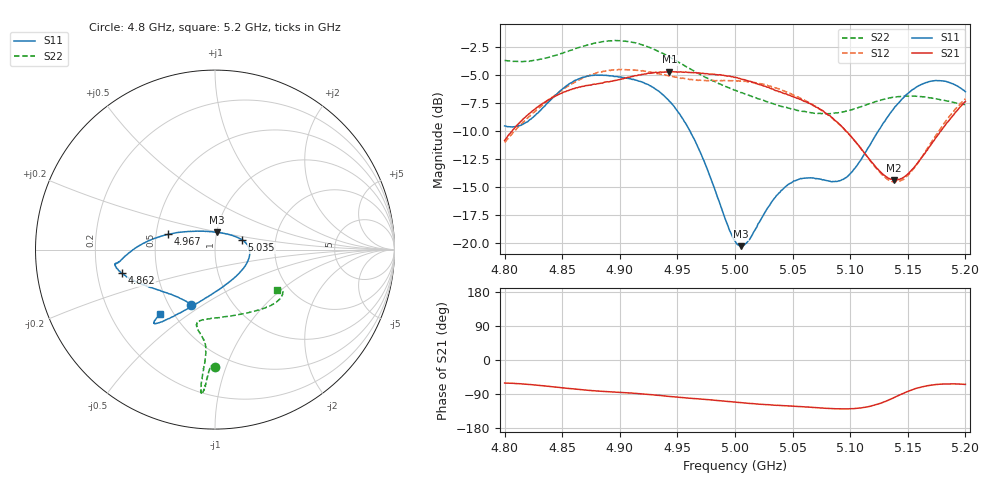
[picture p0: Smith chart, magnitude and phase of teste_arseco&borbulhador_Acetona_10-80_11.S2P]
! Network Analyzer HP8722D
! Hewlett-Packard
! Data name: Linha & Wilkinson
! Saver's name: Rodrigo Anjos
! Comments: Teste da utilização de aquisição
! continua pelo VNA HP8722D
! Time and date: 17/4/2025 14:27
!  Frequency  S11  S21  S12  S22
# HZ  S  MA R 50
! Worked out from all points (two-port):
!   401 points, 4.8 GHz to 5.2 GHz, reference 50 ohm
!   highest |S21| = -4.69 dB at 4.943 GHz (marker M1); lowest = -14.4 dB at 5.138 GHz (marker M2)
!   |S21| within 3 dB of the highest: 4.831 GHz to 5.068 GHz (236.8 MHz wide, 4.79 % of centre); 5.196859 GHz to end of sweep
!   lowest |S11| = -20.3 dB at 5.005 GHz (marker M3), VSWR 1.21, Z = 50 + j9.71 ohm
!   |S11| at or under -10 dB: 4.961 GHz to 5.124 GHz (163.4 MHz wide, 3.24 % of centre)
!   |S22| runs from -8.5 to -1.9 dB; largest |S21 - S12| = 0.87
!   S11 on the Smith chart (normalised r, x): 4.8 GHz: 0.65, -0.44; 4.862 GHz: 0.31, -0.11; 4.967 GHz: 0.58, +0.11; 5.035 GHz: 1.34, +0.15; 5.2 GHz: 0.42, -0.39
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4.8e9  0.3337 -113.4  0.2873 -60.8  0.2817 -175.1  0.6553 -90.0
4.819e9  0.347 -133.3  0.3699 -64.1  0.3578 -173.6  0.6506 -91.7
4.862e9  0.5348 -165.7  0.4944 -76.9  0.5284 -176.8  0.7423 -93.8
4.867e9  0.5489 -167.6  0.5011 -78.5  0.5431 -177.8  0.7562 -94.1
4.899e9  0.5525 -172.2  0.5375 -85.1  0.5973 175.6  0.8028 -95.3
4.934e9  0.4766 -178.1  0.5795 -93.4  0.5712 171.7  0.7172 -95.7
4.943e9  0.4305 177.8  0.583 -96.2  0.5581 171.8  0.6793 -95.6
4.967e9  0.2741 161.9  0.5755 -102.3  0.535 173.9  0.5763 -95.0
5e9  0.1019 101.9  0.5506 -111.2  0.5316 176.2  0.4821 -99.1
5.005e9  0.09666 84.5  0.5414 -112.4  0.5299 176.0  0.4703 -100.4
5.012e9  0.103 61.5  0.5293 -114.3  0.5257 175.9  0.4579 -101.9
5.035e9  0.1599 20.0  0.4808 -119.2  0.4937 174.7  0.4164 -103.3
5.05e9  0.1874 4.5  0.452 -121.8  0.4606 174.0  0.3966 -99.7
5.067e9  0.1952 -13.4  0.4149 -125.0  0.4174 173.6  0.3819 -90.8
5.086e9  0.1879 -43.5  0.356 -128.6  0.3551 173.6  0.3807 -76.6
5.097e9  0.1968 -66.2  0.3145 -129.0  0.3134 174.5  0.389 -67.4
5.134e9  0.3755 -116.3  0.194 -104.8  0.1903 -157.7  0.4448 -43.0
5.138e9  0.4006 -118.6  0.1911 -99.2  0.188 -151.4  0.4477 -41.2
5.15e9  0.4658 -124.2  0.2032 -83.1  0.2002 -132.7  0.4542 -36.7
5.17e9  0.5287 -128.8  0.2743 -66.4  0.2796 -112.6  0.4454 -32.0
5.184e9  0.5263 -130.1  0.3452 -63.2  0.3564 -107.2  0.4313 -31.0
5.2e9  0.4746 -130.5  0.4292 -64.4  0.4415 -106.5  0.4148 -33.3
